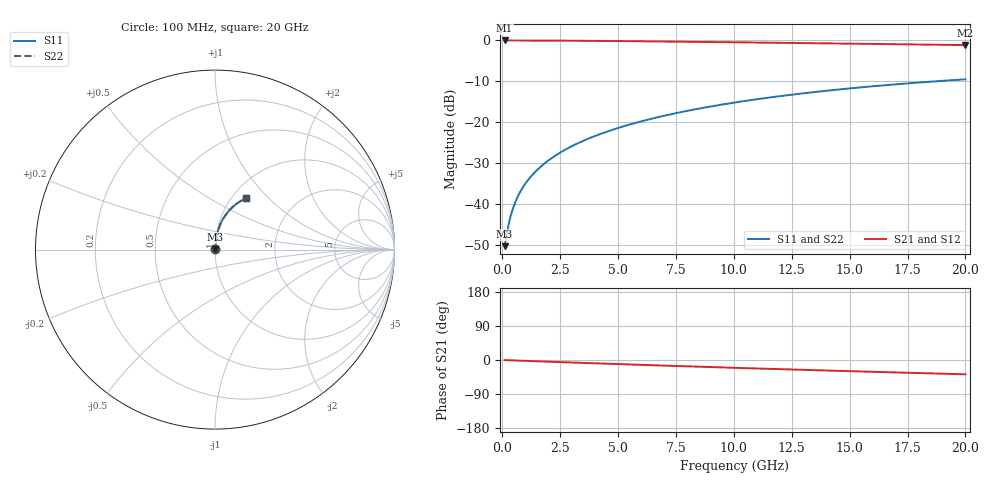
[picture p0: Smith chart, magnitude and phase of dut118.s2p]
! Touchstone file exported from HFSS 2024.1.0
!  File:  C:/UserFiles/LocalFiles/RDL_TSV_Batchsim/temp_RDL_bottom_118_1778695960.aedt
!  Generated:  02:14:54 AM May 14, 2026
!  Design:  RDL_bottom
!  Project:  temp_RDL_bottom_118_1778695960
!  Setup:  Setup1
!  Solution:  Sweep
! Variables:
!  dtsv = 10.80580581um
!  hbump = 3um
!  htsv = 67.47um
!  ldown = 574.4um
!  lrdl = 100um
!  p = 40
!  p1 = 40.52um
!  rhole = 1um
!  t = 450um
!  tdown = 4.89um
!  trdl = 3.915915916um
!  wdown = 18.05um
!  wrdl = 20um
# GHz S MA R 50.000000
! Terminal data exported
! Port[1] = RDL1_T1
! Port[2] = RDL1_T2
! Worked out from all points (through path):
!   200 points, 100 MHz to 20 GHz, reference 50 ohm
!   highest |S21| = -0.02 dB at 100 MHz (marker M1); lowest = -1.2 dB at 20 GHz (marker M2)
!   group delay of S21, straight-line fit = 5.21 ps
!   lowest |S11| = -50.3 dB at 100 MHz (marker M3), VSWR 1.01, Z = 50.2 + j0.187 ohm
!   |S11| at or under -10 dB: start of sweep to 18.7 GHz
!   |S22| runs from -50.3 to -9.5 dB; largest |S21 - S12| = 6e-15
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0.1  0.003072 37.3  0.9976 -0.2  0.9976 -0.2  0.003072 37.3
! Gamma 0 0 0 0
! Port Impedance 50 0 50 0
0.2  0.004483 55.9  0.9974 -0.5  0.9974 -0.5  0.004482 55.9
0.3  0.006123 64.6  0.9972 -0.7  0.9972 -0.7  0.006123 64.6
0.4  0.007824 69.4  0.9971 -0.9  0.9971 -0.9  0.007825 69.4
0.5  0.009532 72.3  0.9969 -1.1  0.9969 -1.1  0.009533 72.3
0.6  0.01123 74.2  0.9968 -1.4  0.9968 -1.4  0.01123 74.2
0.8  0.01458 76.7  0.9965 -1.8  0.9965 -1.8  0.01459 76.7
1.1  0.01954 78.9  0.996 -2.5  0.996 -2.5  0.01954 78.9
1.5  0.0261 80.6  0.9952 -3.3  0.9952 -3.3  0.02611 80.6
1.8  0.03104 81.5  0.9944 -4.0  0.9944 -4.0  0.03104 81.4
2.1  0.03599 82.0  0.9936 -4.7  0.9936 -4.7  0.03599 82.0
2.7  0.04597 82.6  0.9915 -6.0  0.9915 -6.0  0.04597 82.6
3.5  0.05944 82.7  0.9882 -7.7  0.9882 -7.7  0.05943 82.7
4.2  0.07137 82.5  0.9848 -9.2  0.9848 -9.2  0.07136 82.5
5  0.08517 82.0  0.9805 -10.8  0.9805 -10.8  0.08515 81.9
6.8  0.1167 80.1  0.9696 -14.5  0.9696 -14.5  0.1167 80.1
8.4  0.1452 78.0  0.9591 -17.6  0.9591 -17.6  0.1451 78.0
10.1  0.1754 75.5  0.9474 -20.8  0.9474 -20.8  0.1752 75.4
11.7  0.2035 72.9  0.9361 -23.7  0.9361 -23.7  0.2033 72.8
13.4  0.2326 70.0  0.9238 -26.7  0.9238 -26.7  0.2324 70.0
16.7  0.2861 64.4  0.8996 -32.4  0.8996 -32.4  0.2859 64.3
20  0.3347 58.9  0.8754 -37.8  0.8754 -37.8  0.3344 58.8
